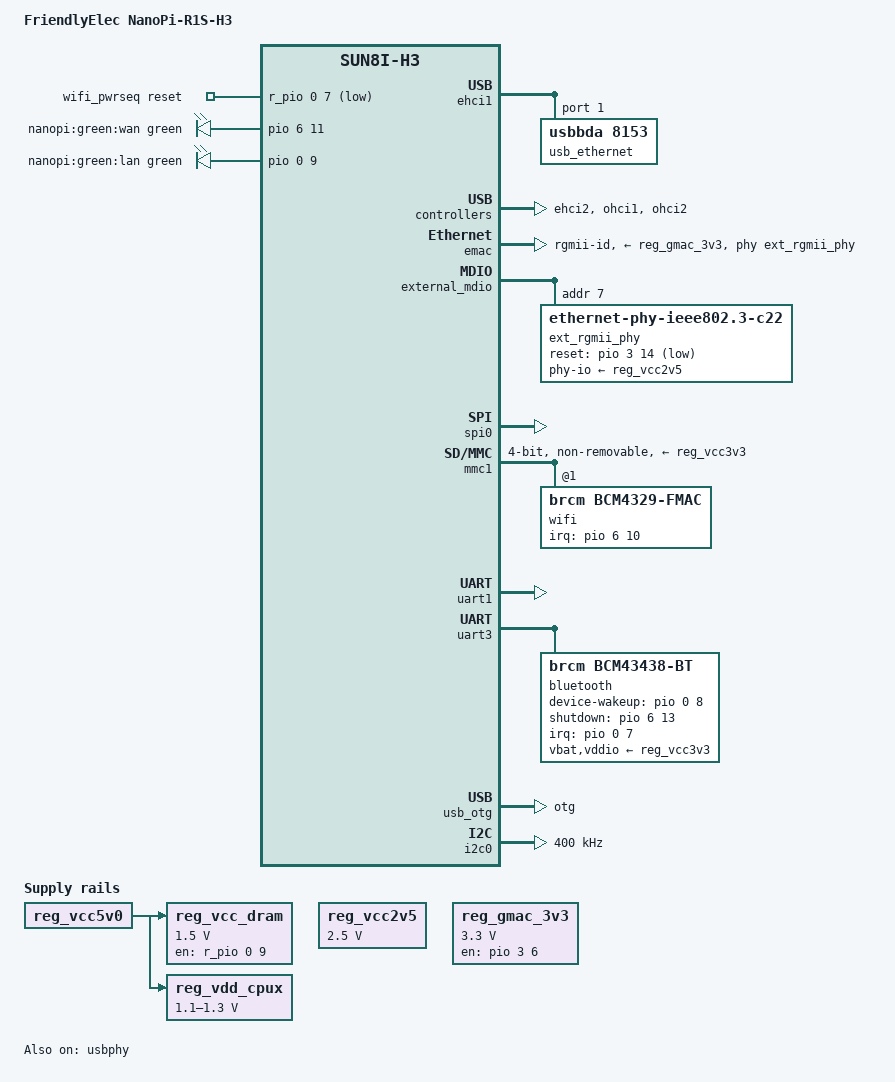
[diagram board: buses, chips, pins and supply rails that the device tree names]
// SPDX-License-Identifier: (GPL-2.0+ OR MIT)
/*
 * Copyright (C) 2019 Igor Pecovnik <igor@armbian.com>
 * Copyright (C) 2020 Jayantajit Gogoi <jayanta.gogoi525@gmail.com>
 * Copyright (C) 2020 Yu-Tung Chang <mtwget@gmail.com>
 * Copyright (C) 2023-2024 Darsey Litzenberger <dlitz@dlitz.net>
*/

#include "sun8i-h3-nanopi.dtsi"
#include <dt-bindings/leds/common.h>

/ {
	model = "FriendlyElec NanoPi-R1S-H3";
	compatible = "friendlyelec,nanopi-r1s-h3", "allwinner,sun8i-h3";

	aliases {
		serial1 = &uart1;
		ethernet0 = &emac;
		ethernet1 = &wifi;
		ethernet2 = &usb_ethernet;
	};

	reserved-memory {
		#address-cells = <1>;
		#size-cells = <1>;
		ranges;

		ramoops: ramoops@50000000 {
			compatible = "ramoops";
			reg = <0x50000000 0x80000>;	/* 512 KiB */
			record-size = <0x4000>;		/* 16 KiB */
			console-size = <0x20000>;	/* 128 KiB */
			ftrace-size = <0x20000>;	/* 128 KiB */
			pmsg-size = <0x20000>;		/* 128 KiB */
			ecc-size = <16>;
			max-reason = <3>;	/* KMSG_DUMP_EMERG */
			status = "disabled";
		};
	};

	reg_vcc_dram: vcc-dram {
		compatible = "regulator-fixed";
		regulator-name = "vcc-dram";
		regulator-min-microvolt = <1500000>;
		regulator-max-microvolt = <1500000>;
		regulator-always-on;
		regulator-boot-on;
		enable-active-high;
		gpio = <&r_pio 0 9 GPIO_ACTIVE_HIGH>; /* PL9 */
		vin-supply = <&reg_vcc5v0>;
	};

	reg_vcc2v5: vcc2v5 {
		compatible = "regulator-fixed";
		regulator-name = "vcc2v5";
		regulator-min-microvolt = <2500000>;
		regulator-max-microvolt = <2500000>;
	};

	reg_gmac_3v3: gmac-3v3 {
		compatible = "regulator-fixed";
		regulator-name = "gmac-3v3";
		regulator-min-microvolt = <3300000>;
		regulator-max-microvolt = <3300000>;
		startup-delay-us = <100000>;
		enable-active-high;
		gpio = <&pio 3 6 GPIO_ACTIVE_HIGH>; /* PD6 */
	};

	reg_vdd_cpux: gpio-regulator {
		compatible = "regulator-gpio";
		regulator-name = "vdd-cpux";
		regulator-type = "voltage";
		regulator-boot-on;
		regulator-always-on;
		regulator-min-microvolt = <1100000>;
		regulator-max-microvolt = <1300000>;
		regulator-ramp-delay = <50>;
		gpios = <&r_pio 0 6 GPIO_ACTIVE_HIGH>; /* PL6 */
		gpios-states = <0x1>;
		states = <1100000 0x0>,
			 <1300000 0x1>;
		vin-supply = <&reg_vcc5v0>;
	};

	wifi_pwrseq: wifi_pwrseq {
		compatible = "mmc-pwrseq-simple";
		reset-gpios = <&r_pio 0 7 GPIO_ACTIVE_LOW>; /* PL7 */
		clocks = <&rtc CLK_OSC32K_FANOUT>;
		clock-names = "ext_clock";
	};

	leds {
		led-0 {
			label = "nanopi:red:status";
			function = LED_FUNCTION_STATUS;
			color = <LED_COLOR_ID_RED>;
		};

		led-1 {
			status = "disabled";
		};

		led-2 {
			label = "nanopi:green:wan";
			function = LED_FUNCTION_WAN;
			color = <LED_COLOR_ID_GREEN>;
			gpios = <&pio 6 11 GPIO_ACTIVE_HIGH>; /* PG11 */
		};

		led-3 {
			label = "nanopi:green:lan";
			function = LED_FUNCTION_LAN;
			color = <LED_COLOR_ID_GREEN>;
			gpios = <&pio 0 9 GPIO_ACTIVE_HIGH>; /* PA9 */
		};
	};

	fan0: gpio_fan {
		compatible = "gpio-fan";
		label = "GPIO fan";
		gpios = <&r_pio 0 5 GPIO_ACTIVE_HIGH>;	/* PL5 */
		#cooling-cells = <2>;
		gpio-fan,speed-map = <0 0>, <10000 1>;
		status = "disabled";	/* normally unpopulated */
	};
};

&cpu0 {
	cpu-supply = <&reg_vdd_cpux>;
};

&ehci1 {
	#address-cells = <1>;
	#size-cells = <0>;

	status = "okay";

	/* hard-wired USB ethernet device */
	usb_ethernet: ethernet@1 {
		compatible = "usbbda,8153";	/* RTL8153 Gigabit Ethernet */
		reg = <1>;

		/* Bits 15:12 - 0000b - feature control: active low; Option 1
		 * Bits 11:8  - 0000b - LEDSEL2 (unconnected): LED Off
		 * Bits 7:4   - 0111b - LEDSEL1 (yellow): Link 1000/100/10 Mbps
		 * Bits 3:0   - 1000b - LEDSEL0 (green): Activity */
		realtek,led-data = <0x0078>;
	};
};

&ehci2 {
	status = "okay";
};

&emac {
	pinctrl-names = "default";
	pinctrl-0 = <&emac_rgmii_pins>;
	phy-supply = <&reg_gmac_3v3>;
	phy-handle = <&ext_rgmii_phy>;
	phy-mode = "rgmii-id";
	status = "okay";
};

&external_mdio {
	ext_rgmii_phy: ethernet-phy@7 {
		compatible = "ethernet-phy-ieee802.3-c22";
		reg = <7>;
		reset-gpios = <&pio 3 14 GPIO_ACTIVE_LOW>; /* PD14 */
		phy-io-supply = <&reg_vcc2v5>;	// Is this the correct spot?  Check for  [  +0.000235] dwmac-sun8i 1c30000.ethernet: supply phy-io not found, using dummy regulator
	};
};

// normally-unpopulated 8-SOIC footprint designated U14
&spi0 {
	status = "okay";

	spiflash: spiflash@0 {
		#address-cells = <1>;
		#size-cells = <1>;
		compatible = "mxicy,mx25l12805d", "jedec,spi-nor";
		reg = <0>;
		status = "disabled";	/* normally unpopulated */

		//vdd-supply = <&reg_vcc3v3>;	// DTC_CHK complains about this

		spi-max-frequency = <104000000>;
		m25p,fast-read;

		partitions {
			compatible = "fixed-partitions";
			#address-cells = <1>;
			#size-cells = <1>;

			u-boot-sunxi-with-spl@0 {
				reg = <0x0 0xf0000>;	/* 960 KiB */
			};

			u-boot-env@f0000 {
				reg = <0xf0000 0x10000>;	/* 64 KiB */
			};

			// TODO: Other stuff here?  A recovery filesystem?  pstore space?
		};
	};
};

&mmc1 {
	vmmc-supply = <&reg_vcc3v3>;
	vqmmc-supply = <&reg_vcc3v3>;
	mmc-pwrseq = <&wifi_pwrseq>;
	bus-width = <4>;
	non-removable;
	status = "okay";

	/* compatible with rtl8189/ap6256 */
	wifi: wifi@1 {
		reg = <1>;
		compatible = "brcm,bcm4329-fmac";
		interrupt-parent = <&pio>;
		//interrupts = <6 10 IRQ_TYPE_LEVEL_HIGH>; /* PG10 / EINT10 */
		interrupts = <6 10 IRQ_TYPE_LEVEL_LOW>; /* PG10 / EINT10 */
		// TODO: Should the above be IRQ_TYPE_LEVEL_LOW like on other devices?
		interrupt-names = "host-wake";
	};
};

&ohci1 {
	status = "okay";
};

&ohci2 {
	status = "okay";
};

&uart1 {
	pinctrl-names = "default";
	pinctrl-0 = <&uart1_pins>;
	status = "okay";
};

&uart3 {
	pinctrl-names = "default";
	pinctrl-0 = <&uart3_pins>, <&uart3_rts_cts_pins>;
	uart-has-rtscts;
	status = "okay";

	// TODO(dlitz) - Test bluetooth support
	bluetooth {
		compatible = "brcm,bcm43438-bt";
		clocks = <&rtc CLK_OSC32K_FANOUT>;
		clock-names = "lpo";
		vbat-supply = <&reg_vcc3v3>;
		vddio-supply = <&reg_vcc3v3>;
		device-wakeup-gpios = <&pio 0 8 GPIO_ACTIVE_HIGH>; /* PA8 */
		shutdown-gpios = <&pio 6 13 GPIO_ACTIVE_HIGH>; /* PG13 */
		interrupt-parent = <&pio>;
		interrupts = <0 7 IRQ_TYPE_LEVEL_HIGH>; /* PA7 / EINT7 */
		interrupt-names = "host-wakeup";
	};
};

&usb_otg {
	status = "okay";
	dr_mode = "otg";
};

&usbphy {
	usb0_id_det-gpios = <&pio 6 12 GPIO_ACTIVE_HIGH>; /* PG12 */
	status = "okay";
};

&i2c0 {
	status = "okay";
	clock-frequency = <400000>;

	eeprom0: eeprom@51 {
		/* Microchip 24AA025E48T-I/OT */
		compatible = "microchip,24c02", "atmel,24c02";
		reg = <0x51>;
		pagesize = <16>;
		vcc-supply = <&reg_vcc3v3>;
		label = "eeprom";

		#address-cells = <1>;
		#size-cells = <1>;

		status = "disabled";	/* normally unpopulated */

		eeprom0_writable: eeprom@0 {
			reg = <0x0 0x80>;
		};
		/* nothing useful between 0x80 and 0x7a.  It's all-FF and read-only. */
		eeprom0_mac_address: mac-address@fa {
			reg = <0xfa 0x6>;
			read-only;
		};
	};
};

&pio {
	vcc-pa-supply = <&reg_vcc3v3>;	// VCC_IO
	vcc-pc-supply = <&reg_vcc3v3>;	// VCC_IO
	vcc-pd-supply = <&reg_vcc2v5>;	// VCC_PD
	vcc-pe-supply = <&reg_vcc3v3>;	// VCC_IO
	vcc-pf-supply = <&reg_vcc3v3>;	// VCC_IO
	vcc-pg-supply = <&reg_vcc3v3>;	// VCC_PG
};

&r_pio {
	vcc-pl-supply = <&reg_vcc3v3>;	// VCC_IO
};

#if 0
&cpu_thermal {
	trips {
		cpu_less_warm_trip: cpu-warm {
			temperature = <25000>;
			hysteresis = <2000>;
			type = "active";
		};
		cpu_warm_trip: cpu-warm {
			temperature = <30000>;
			hysteresis = <2000>;
			type = "active";
		};
		cpu_warmer_trip: cpu-warm {
			temperature = <35000>;
			hysteresis = <2000>;
			type = "active";
		};
	};
	cooling-maps {
		cpu-hot-limit {
			contribution = <1>;
		};
		map0 {
			trip = <&cpu_less_warm_trip>;
			cooling-device = <&fan0 THERMAL_NO_LIMIT THERMAL_NO_LIMIT>;
			contribution = <1>;
		};
		map1 {
			trip = <&cpu_warm_trip>;
			cooling-device = <&fan0 THERMAL_NO_LIMIT THERMAL_NO_LIMIT>;
			contribution = <1>;
		};
		map2 {
			trip = <&cpu_warmer_trip>;
			cooling-device = <&fan0 THERMAL_NO_LIMIT THERMAL_NO_LIMIT>;
			contribution = <1>;
		};
	};
};
#endif
